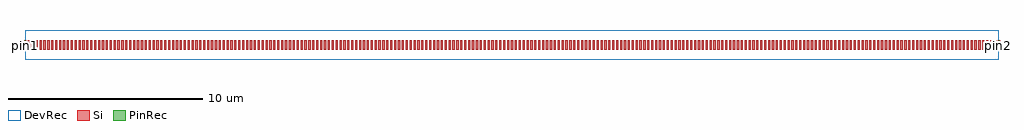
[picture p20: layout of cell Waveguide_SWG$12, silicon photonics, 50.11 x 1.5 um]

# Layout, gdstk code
import gdstk
lib = gdstk.Library(unit=1e-6, precision=1e-09)
def R(c, l, rs):  # rectangles x0, y0, x1, y1
    for r in rs: c.add(gdstk.rectangle(r[:2], r[2:], *l))
def A(c, l, x, y, w, h, nx, ny, dx, dy):  # array of equal rectangles
    R(c, l, [(x+i*dx, y+j*dy, x+i*dx+w, y+j*dy+h) for i in range(nx) for j in range(ny)])
Si = (1, 0)
PinRec = (1, 10)
DevRec = (68, 0)

waveguide_swg_12 = lib.new_cell('Waveguide_SWG$12')
A(waveguide_swg_12, Si, -0.055, -0.25, 0.11, 0.5, 251, 1, 0.2, 0)
R(waveguide_swg_12, DevRec, [(0,-0.75,50,0.75)])
waveguide_swg_12.add(gdstk.FlexPath([(0.01,0),(-0.01,0)], 0.5, ends="flush", simple_path=True, layer=1, datatype=10))  # PinRec
waveguide_swg_12.add(gdstk.FlexPath([(49.99,0),(50.01,0)], 0.5, ends="flush", simple_path=True, layer=1, datatype=10))  # PinRec
waveguide_swg_12.add(gdstk.Label('pin1', (0,0), layer=1, texttype=10))
waveguide_swg_12.add(gdstk.Label('pin2', (50,0), layer=1, texttype=10))
waveguide_swg_12.add(gdstk.Label('Lumerical_INTERCONNECT_library=Design kits/ebeam_v1.2', (0,0), layer=68, texttype=0))
waveguide_swg_12.add(gdstk.Label('Component=NO_MODEL_AVAILABLE', (5,0), layer=68, texttype=0))
waveguide_swg_12.add(gdstk.Label('Spice_param:length=50.000u target_period=0.200u grating_period=0.200u wg_width=0.500u duty=0.550 ', (5.555,-0.22), layer=68, texttype=0))

lib.write_gds('Waveguide_SWG_12.gds')
